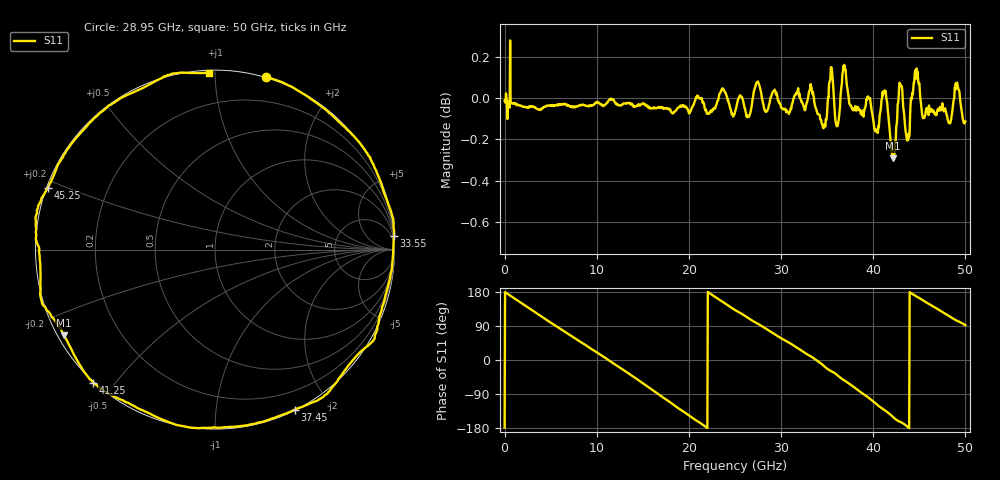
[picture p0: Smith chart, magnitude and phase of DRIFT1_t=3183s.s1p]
!Created with skrf (http://scikit-rf.org).
# Hz S RI R 50.0
!freq ReS11 ImS11
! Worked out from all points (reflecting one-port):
!   1001 points, 300 kHz to 50 GHz, reference 50 ohm
!   lowest |S11| = -0.3 dB at 42.15 GHz (marker M1), VSWR 59.39, Z = 0.9 - j13.2 ohm
!   phase of S11 starts at -179 deg and turns -810 deg over the sweep
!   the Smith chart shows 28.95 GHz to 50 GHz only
!   S11 on the Smith chart (normalised r, x): 28.95 GHz: -0.00, +1.34; 33.55 GHz: -0, +26; 37.45 GHz: 0.01, -1.62; 41.25 GHz: -0.00, -0.44; 45.25 GHz: 0.00, +0.18; 50 GHz: 0.01, +0.97
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300000  -0.9983 -0.0244
1.60029e9  -0.893 0.4417
3.40028e9  -0.5604 0.8215
6.250262e9  0.1936 0.9778
9.600242e9  0.8933 0.4408
1.115023e10  0.9971 0.0314
1.250022e10  0.9371 -0.3375
1.580021e10  0.261 -0.9594
1.73002e10  -0.1798 -0.9779
1.875019e10  -0.5795 -0.8081
2.050018e10  -0.9016 -0.424
2.175017e10  -0.99 -0.0863
2.350016e10  -0.9197 0.403
2.500015e10  -0.6622 0.739
2.720014e10  -0.1648 0.9928
2.895013e10  0.2855 0.96
3.125011e10  0.7644 0.6406
3.35501e10  0.998 0.0774
3.555009e10  0.8719 -0.5171
3.745008e10  0.4446 -0.8921
3.750008e10  0.4308 -0.8982
3.945006e10  -0.1507 -0.9896
4.125005e10  -0.6777 -0.7413
4.215005e10  -0.8413 -0.4765
4.375004e10  -0.977 -0.0525
4.525003e10  -0.9323 0.3441
4.770001e10  -0.5515 0.8261
5e10  -0.0312 0.9866
